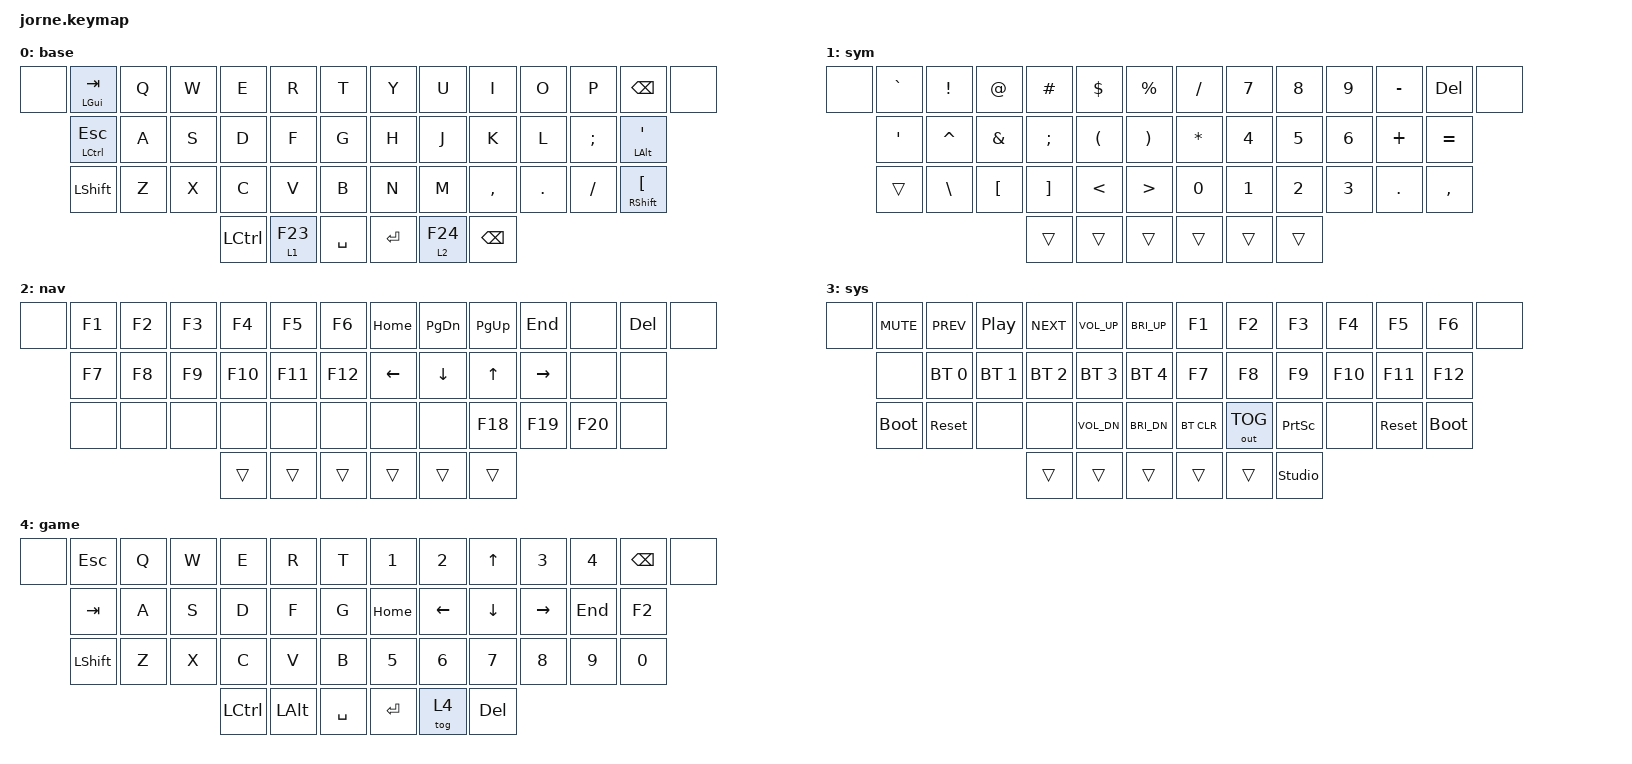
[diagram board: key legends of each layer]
/*
 * Copyright (c) 2020 The ZMK Contributors
 *
 * SPDX-License-Identifier: MIT
 */

#include <behaviors.dtsi>
#include <dt-bindings/zmk/bt.h>
#include <dt-bindings/zmk/keys.h>
#include <dt-bindings/zmk/outputs.h>

/ {
    behaviors {
        altq: alt_quote {
            compatible = "zmk,behavior-hold-tap";
            #binding-cells = <2>;
            tapping-term-ms = <200>;
            quick-tap-ms = <150>;
            flavor = "tap-preferred";
            bindings = <&kp>, <&kp>;
        };
    };

    combos {
        compatible = "zmk,combos";

        game_toggle {
            bindings = <&tog 4>;
            key-positions = <38 43>;
        };
    };

    conditional_layers {
        compatible = "zmk,conditional-layers";

        tri_layer {
            if-layers = <1 2>;
            then-layer = <3>;
        };
    };

    keymap {
        compatible = "zmk,keymap";

        base {
            bindings = <
&none  &mt LGUI TAB     &kp Q  &kp W  &kp E      &kp R     &kp T        &kp Y      &kp U      &kp I      &kp O    &kp P     &kp BSPC    &none
       &mt LCTRL ESC    &kp A  &kp S  &kp D      &kp F     &kp G        &kp H      &kp J      &kp K      &kp L    &kp SEMI  &altq LALT SQT
       &kp LSHFT        &kp Z  &kp X  &kp C      &kp V     &kp B        &kp N      &kp M      &kp COMMA  &kp DOT  &kp FSLH  &mt RSHFT LBKT
                                       &kp LCTRL  &lt 1 F23  &kp SPACE    &kp ENTER  &lt 2 F24  &kp BSPC
            >;
        };

        sym {
            bindings = <
&none  &kp GRAVE  &kp EXCL  &kp AT    &kp HASH  &kp DLLR  &kp PRCNT    &kp FSLH   &kp N7     &kp N8     &kp N9    &kp MINUS  &kp DEL       &none
       &kp SQT    &kp CARET &kp AMPS  &kp SEMI  &kp LPAR  &kp RPAR     &kp ASTRK  &kp N4     &kp N5     &kp N6    &kp PLUS   &kp EQUAL
       &trans     &kp BSLH  &kp LBKT  &kp RBKT  &kp LT    &kp GT       &kp N0     &kp N1     &kp N2     &kp N3    &kp DOT    &kp COMMA
                                       &trans    &trans    &trans        &trans     &trans     &trans
            >;
        };

        nav {
            bindings = <
&none  &kp F1  &kp F2  &kp F3  &kp F4  &kp F5  &kp F6     &kp HOME   &kp PG_DN  &kp PG_UP    &kp END   &none     &kp DEL       &none
       &kp F7  &kp F8  &kp F9  &kp F10 &kp F11 &kp F12    &kp LEFT   &kp DOWN   &kp UP       &kp RIGHT &none     &none
       &none   &none   &none   &none   &none   &none      &none      &none      &kp F18      &kp F19   &kp F20       &none
                                &trans  &trans  &trans     &trans     &trans     &trans
            >;
        };

        sys {
            bindings = <
&none  &kp C_MUTE   &kp C_PREV    &kp C_PP      &kp C_NEXT    &kp C_VOL_UP  &kp C_BRI_UP    &kp F1       &kp F2         &kp F3     &kp F4  &kp F5      &kp F6          &none
       &none        &bt BT_SEL 0  &bt BT_SEL 1  &bt BT_SEL 2  &bt BT_SEL 3  &bt BT_SEL 4    &kp F7       &kp F8         &kp F9     &kp F10 &kp F11     &kp F12
       &bootloader  &sys_reset    &none         &none         &kp C_VOL_DN  &kp C_BRI_DN    &bt BT_CLR   &out OUT_TOG   &kp PSCRN  &none   &sys_reset  &bootloader
                                                 &trans        &trans        &trans           &trans       &trans         &studio_unlock
            >;
        };

        game {
            bindings = <
&none  &kp ESC    &kp Q  &kp W  &kp E      &kp R     &kp T        &kp N1     &kp N2    &kp UP     &kp N3     &kp N4    &kp BSPC   &none
       &kp TAB    &kp A  &kp S  &kp D      &kp F     &kp G        &kp HOME   &kp LEFT  &kp DOWN   &kp RIGHT  &kp END   &kp F2
       &kp LSHFT  &kp Z  &kp X  &kp C      &kp V     &kp B        &kp N5     &kp N6    &kp N7     &kp N8     &kp N9    &kp N0
                                 &kp LCTRL  &kp LALT  &kp SPACE    &kp ENTER  &tog 4    &kp DEL
            >;
        };
    };
};
